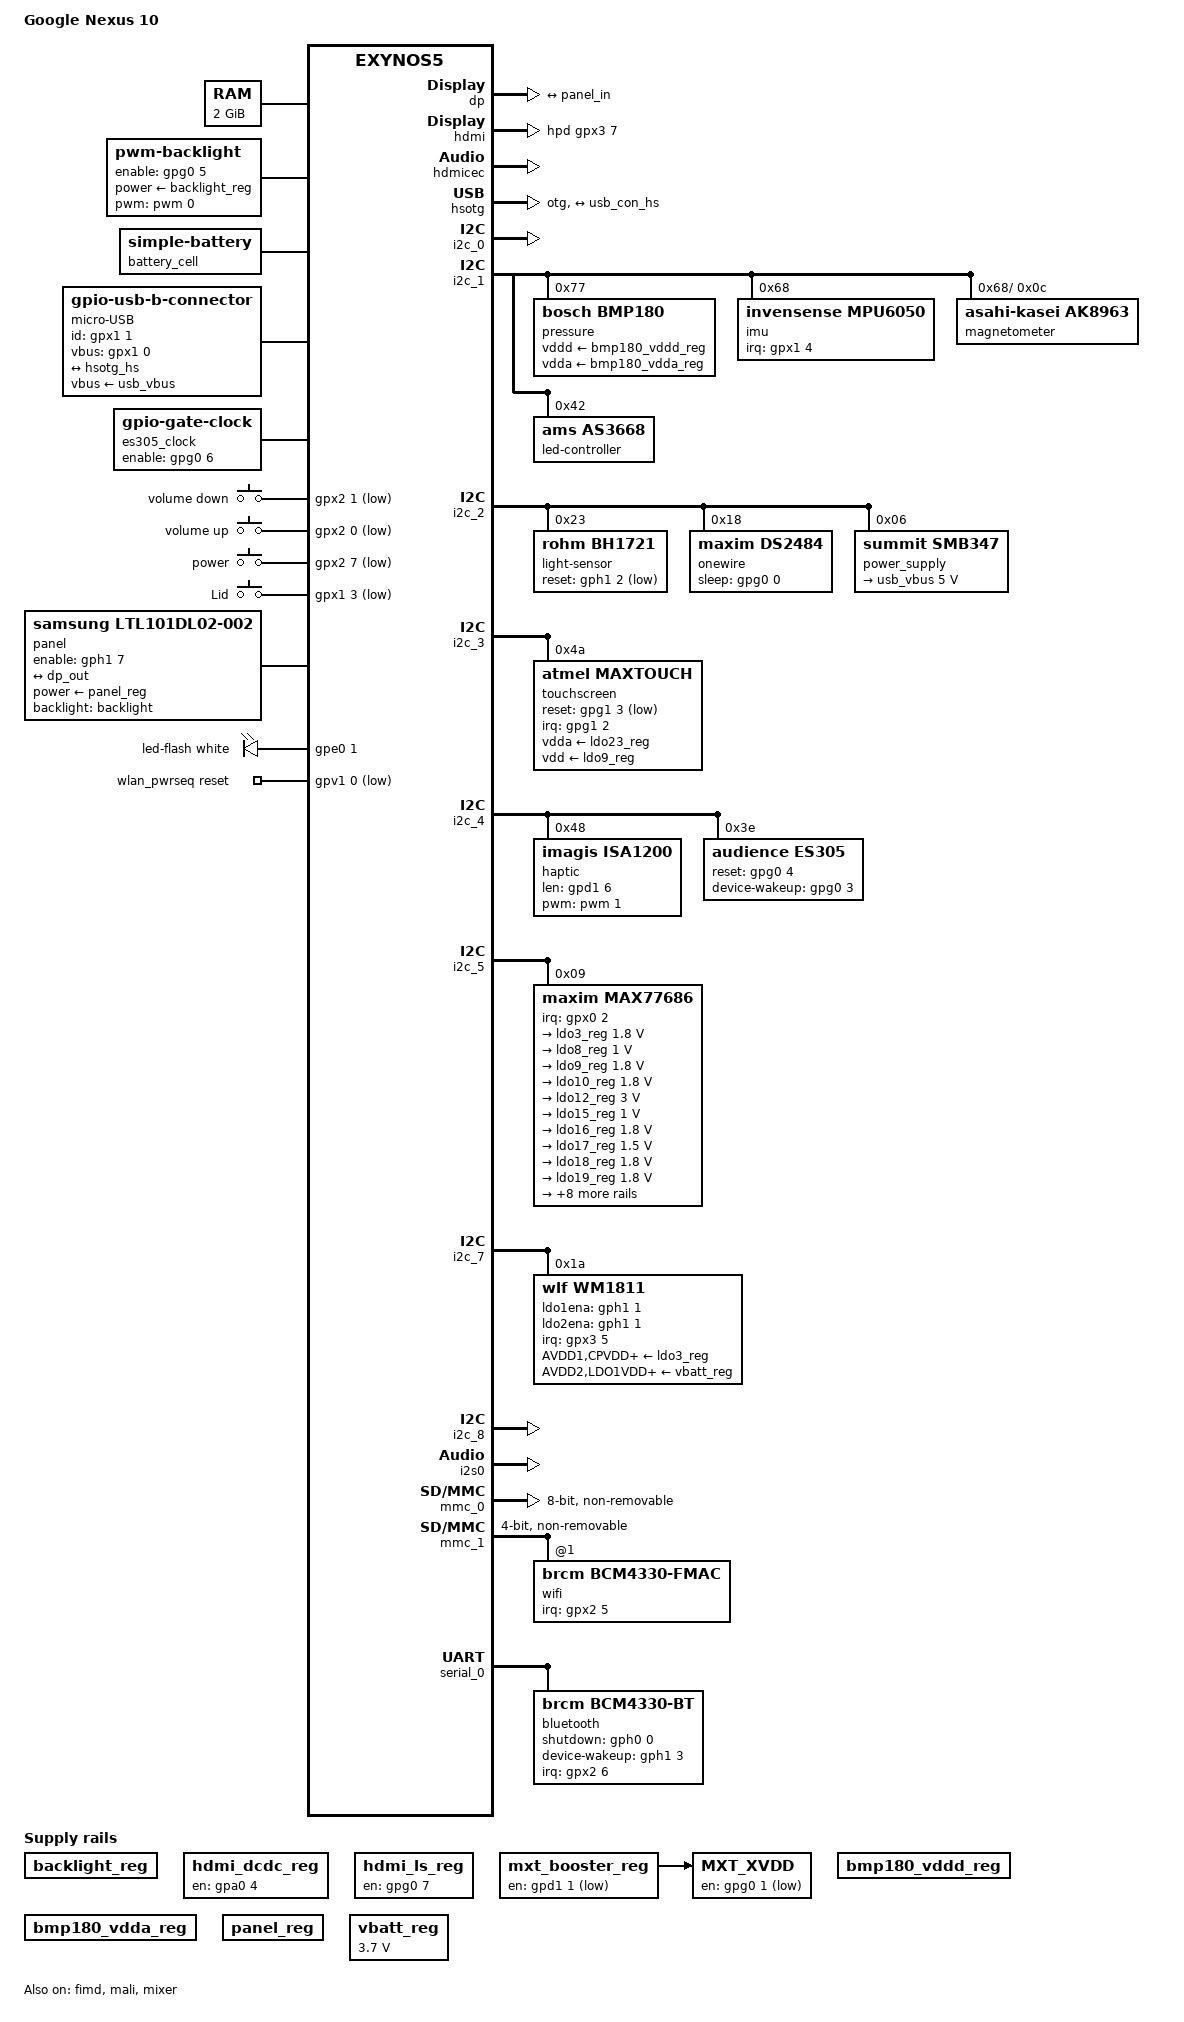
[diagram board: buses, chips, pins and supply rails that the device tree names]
/dts-v1/;
#include <dt-bindings/leds/common.h>
#include <dt-bindings/gpio/gpio.h>
#include <dt-bindings/clock/maxim,max77686.h>
#include <dt-bindings/input/linux-event-codes.h>
#include <dt-bindings/power/summit,smb347-charger.h>
#include <dt-bindings/sound/samsung-i2s.h>
#include "exynos-pinctrl.h"
#include "exynos5250.dtsi"
#include "exynos-mfc-reserved-memory.dtsi"

/ {
	model = "Google Nexus 10";
	compatible = "samsung,nexus10-manta", "samsung,exynos5250", "samsung,exynos5";

	aliases {
		mmc0 = &mmc_0; /* eMMC */
		mmc1 = &mmc_1; /* WiFi */
	};

	memory@40000000 {
		device_type = "memory";
		reg = <0x40000000 0x20000000
		       0x60000000 0x20000000
		       0x80000000 0x20000000
		       0xa0000000 0x1FF00000>;
	};

	chosen {
		stdout-path = &serial_2;
	};

	firmware@204f000 {
		compatible = "samsung,secure-firmware";
		reg = <0x0204f000 0x1000>;
	};

	backlight: backlight {
		compatible = "pwm-backlight";
		pwms = <&pwm 0 1000000 0>;
		brightness-levels = <2 255>;
		num-interpolated-steps = <254>;
		default-brightness-level = <102>;
		power-supply = <&backlight_reg>;
		enable-gpios = <&gpg0 5 GPIO_ACTIVE_HIGH>;
		post-pwm-on-delay-ms = <97>;
		pinctrl-0 = <&led_bl_rst &pwm0_out>;
		pinctrl-names = "default";
	};

	battery_cell: battery-cell {
		compatible = "simple-battery";
		device-chemistry = "lithium-ion";
		constant-charge-current-max-microamp = <2500000>;
		constant-charge-voltage-max-microvolt = <4300000>;
		precharge-current-microamp = <200000>;
		charge-term-current-microamp = <250000>;
	};

	connector {
		compatible = "gpio-usb-b-connector", "usb-b-connector";
		label = "micro-USB";
		type = "micro";
		pinctrl-names = "default";
		pinctrl-0 = <&usb_id &otg_vbus_sense &otg_vbus_sense_fac>;
		id-gpios = <&gpx1 1 GPIO_ACTIVE_HIGH>;
		vbus-gpios = <&gpx1 0 GPIO_ACTIVE_HIGH>;
		vbus-supply = <&usb_vbus>;

		ports {
			#address-cells = <1>;
			#size-cells = <0>;

			port@0 {
				reg = <0>;
				usb_con_hs: endpoint {
					remote-endpoint = <&hsotg_hs>;
				};
			};
		};
	};

	es305_clock: es305-clock {
        	compatible = "gpio-gate-clock";
		clocks = <&pmu_system_controller 0>;
		#clock-cells = <0>;
		enable-gpios = <&gpg0 6 GPIO_ACTIVE_HIGH>;
		pinctrl-0 = <&es305_clk_en>;
		pinctrl-names = "default";
	};

	fixed-rate-clocks {
		xxti {
			compatible = "samsung,clock-xxti";
			clock-frequency = <24000000>;
		};
	};

	gpio-keys {
		compatible = "gpio-keys";
		pinctrl-names = "default";
		pinctrl-0 = <&gpio_keys>;

		key-down {
			gpios = <&gpx2 1 GPIO_ACTIVE_LOW>;
			linux,code = <KEY_VOLUMEDOWN>;
			label = "volume down";
			debounce-interval = <5>;
		};

		key-up {
			gpios = <&gpx2 0 GPIO_ACTIVE_LOW>;
			linux,code = <KEY_VOLUMEUP>;
			label = "volume up";
			debounce-interval = <5>;
		};

		key-power {
			gpios = <&gpx2 7 GPIO_ACTIVE_LOW>;
			linux,code = <KEY_POWER>;
			label = "power";
			debounce-interval = <5>;
			wakeup-source;
		};

		lid-switch {
			label = "Lid";
			gpios = <&gpx1 3 GPIO_ACTIVE_LOW>;
			linux,input-type = <5>; /* EV_SW */
			linux,code = <0>; /* SW_LID */
			debounce-interval = <10>;
			wakeup-source;
		};
	};

	multi-led {
		compatible = "leds-group-multicolor";
		color = <LED_COLOR_ID_RGB>;
		function = LED_FUNCTION_STATUS;
		leds = <&status_red>, <&status_green>, <&status_blue>, <&status_white>;
	};

	panel {
		compatible = "samsung,ltl101dl02-002";

		backlight = <&backlight>;
		power-supply = <&panel_reg>;
		enable-gpios = <&gph1 7 GPIO_ACTIVE_HIGH>;
		pinctrl-0 = <&lcd_en>;
		pinctrl-names = "default";
		no-hpd;

		port {
			panel_in: endpoint {
				remote-endpoint = <&dp_out>;
			};
		};
	};

	flash-controller {
		compatible = "gpio-leds";

		led-flash {
			function = LED_FUNCTION_FLASH;
			color = <LED_COLOR_ID_WHITE>;
			linux,default-trigger = "flash";
			gpios = <&gpe0 1 GPIO_ACTIVE_HIGH>;
			default-state = "off";
		};
	};

	sound {
		compatible = "samsung,nexus10-manta-audio";

		model = "Manta WM1811";
		samsung,aux-devs = <&es305>;
		audio-routing = 
			"HP", "HPOUT1L",
			"HP", "HPOUT1R",
			"SPK", "SPKOUTLN",
			"SPK", "SPKOUTLP",
			"SPK", "SPKOUTRN",
			"SPK", "SPKOUTRP",
			"3rd Mic", "MICBIAS1",
			"IN1LP", "3rd Mic",
			"IN1LN", "3rd Mic",
			"Headset Mic", "MICBIAS2",
			"IN1RP", "Headset Mic",
			"IN1RN", "Headset Mic",
			"2nd Mic", "MICBIAS2",
			"IN2LP:VXRN", "2nd Mic",
			"Main Mic", "MICBIAS2",
			"IN2RP:VXRP", "Main Mic",
			"AIF1DAC1L", "Port D OUT",
			"AIF1DAC1R", "Port D OUT",
			"Port A IN", "Playback Mixer",
			"Port A IN", "Playback Mixer";
		samsung,audio-widgets =
			"Headphone", "HP",
			"Speaker", "SPK",
			"Microphone", "Headset Mic",
			"Microphone", "Main Mic",
			"Microphone", "2nd Mic",
			"Microphone", "3rd Mic";
		samsung,pin-switches = "HP", "SPK";

		cpu {
			sound-dai = <&i2s0 0>;
		};
		codec {
			sound-dai = <&wm1811>;
		};
	};

	wlan_pwrseq: mmc1-pwrseq {
		compatible = "mmc-pwrseq-simple";
		reset-gpios = <&gpv1 0 GPIO_ACTIVE_LOW>;
		pinctrl-0 = <&wlan_pmena>;
		pinctrl-names = "default";
		clocks = <&max77686 MAX77686_CLK_PMIC>;
		clock-names = "ext_clock";
		post-power-on-delay-ms = <300>;
		power-off-delay-us = <50>;
	};

	backlight_reg: regulator-backlight {
		compatible = "regulator-fixed";
		regulator-name = "APS_EN_18V";
		pinctrl-0 = <&aps_en_18v>;
		pinctrl-names = "default";
	};

	hdmi_dcdc_reg: regulator-hdmi-dcdc {
		compatible = "regulator-fixed";
		regulator-name = "HDMI_DCDC";
		pinctrl-0 = <&hdmi_dcdc_en>;
		pinctrl-names = "default";
		gpio = <&gpa0 4 GPIO_ACTIVE_HIGH>;
		enable-active-high;
	};

	hdmi_ls_reg: regulator-hdmi-ls {
		compatible = "regulator-fixed";
		regulator-name = "HDMI_LS";
		pinctrl-0 = <&hdmi_ls_en>;
		pinctrl-names = "default";
		gpio = <&gpg0 7 GPIO_ACTIVE_HIGH>;
		enable-active-high;
		regulator-always-on;
	};

	mxt_booster_reg: regulator-mxt-booster {
		compatible = "regulator-fixed";
		regulator-name = "MXT_BOOSTER";
		pinctrl-0 = <&mxt_booster>;
		pinctrl-names = "default";
		gpio = <&gpd1 1 GPIO_ACTIVE_HIGH>;
	};

	bmp180_vddd_reg: regulator-bmp180-vddd {
		compatible = "regulator-fixed";
		regulator-name = "BMP180_VDDD";
	};

	bmp180_vdda_reg: regulator-bmp180-vdda {
		compatible = "regulator-fixed";
		regulator-name = "BMP180_VDDA";
	};

	regulator-mxt-xvdd {
		compatible = "regulator-fixed";
		regulator-name = "MXT_XVDD";
		pinctrl-0 = <&mxt_xvdd>;
		pinctrl-names = "default";
		gpio = <&gpg0 1 GPIO_ACTIVE_HIGH>;
		startup-delay-us = <3000>;
		vin-supply = <&mxt_booster_reg>;
	};

	/*
	 * The panel node requires a power-supply property, but no information
	 * were found on the actual hardware used to supply power to the panel.
	 */
	panel_reg: regulator-panel {
		compatible = "regulator-fixed";
		regulator-name = "LCD_EN";
	};

	vbatt_reg: regulator-vbatt {
		   compatible = "regulator-fixed";
		   regulator-name = "VBATT";
		   regulator-min-microvolt = <3700000>;
		   regulator-max-microvolt = <3700000>;
		   regulator-always-on;
	};
};

&clock {
	assigned-clocks = <&clock CLK_FOUT_APLL>;
	assigned-clock-rates = <1000000000>;
};

&clock_audss {
	assigned-clocks = <&clock_audss EXYNOS_MOUT_AUDSS>;
	assigned-clock-parents = <&clock CLK_FOUT_EPLL>;
};

&cpu0 {
	cpu0-supply = <&buck2_reg>;
};

&dp {
	status = "okay";
	samsung,color-space = <0>;
	samsung,color-depth = <1>;
	samsung,link-rate = <0x0a>;
	samsung,lane-count = <4>;
	samsung,dynamic-range = <0>;
	samsung,ycbcr-coeff = <0>;

	ports {
		port {
			dp_out: endpoint {
				remote-endpoint = <&panel_in>;
			};
		};
	};
};

&ehci {
	status = "disabled";
};

&fimd {
	status = "okay";
	assigned-clocks = <&clock CLK_MOUT_FIMD1>, <&clock CLK_MOUT_VPLL>;
	assigned-clock-parents = <&clock CLK_MOUT_VPLL>;
};

&hdmi {
	status = "okay";
	pinctrl-0 = <&hdmi_hpd>;
	pinctrl-names = "default";
	hpd-gpios = <&gpx3 7 GPIO_ACTIVE_HIGH>;
	ddc = <&i2c_0>;
	hdmi-en-supply = <&hdmi_dcdc_reg>;
	vdd-supply = <&hdmi_ls_reg>;
	vdd_osc-supply = <&ldo10_reg>;
	vdd_pll-supply = <&ldo8_reg>;
};

&hdmicec {
	status = "okay";
};

&hsotg {
	status = "okay";
	vusb_d-supply = <&ldo15_reg>;
	vusb_a-supply = <&ldo12_reg>;
	dr_mode = "otg";
	usb-role-switch;
	pullup-delay-ms = <125>;

	port {
		hsotg_hs: endpoint {
			remote-endpoint = <&usb_con_hs>;
		};
	};
};

&i2c_0 {
	status = "okay";
	samsung,i2c-sda-delay = <100>;
	samsung,i2c-slave-addr = <0x10>;
};

&i2c_1 {
	status = "okay";

	pressure@77 {
		compatible = "bosch,bmp180";
		reg = <0x77>;
		vddd-supply = <&bmp180_vddd_reg>;
		vdda-supply = <&bmp180_vdda_reg>;
	};

	imu@68 {
		compatible = "invensense,mpu6050";
		reg = <0x68>;
		pinctrl-names = "default";
		pinctrl-0 = <&acc_int>;
		interrupt-parent = <&gpx1>;
		interrupts = <4 IRQ_TYPE_EDGE_RISING>;
		mount-matrix = "0",  "-1",  "0",
				"-1",  "0",  "0",
				"0",  "0", "-1";

		i2c-gate {
			#address-cells = <1>;
			#size-cells = <0>;

			magnetometer@c {
				compatible = "asahi-kasei,ak8963";
				reg = <0x0c>;
				pinctrl-names = "default";
				pinctrl-0 = <&msense_rst>;
				mount-matrix = "-1",  "0",  "0",
						"0",  "1",  "0",
						"0",  "0", "-1";
			};
		};
	};

	led-controller@42 {
		compatible = "ams,as3668";
		reg = <0x42>;
		#address-cells = <1>;
		#size-cells = <0>;

		status_red: led@0 {
			reg = <0x0>;
			function = LED_FUNCTION_STATUS;
			color = <LED_COLOR_ID_RED>;
		};

		status_green: led@1 {
			reg = <0x1>;
			function = LED_FUNCTION_STATUS;
			color = <LED_COLOR_ID_GREEN>;
		};

		status_blue: led@2 {
			reg = <0x2>;
			function = LED_FUNCTION_STATUS;
			color = <LED_COLOR_ID_BLUE>;
		};

		status_white: led@3 {
			reg = <0x3>;
			function = LED_FUNCTION_STATUS;
			color = <LED_COLOR_ID_WHITE>;
		};
	};
};

&i2c_2 {
	status = "okay";

        light-sensor@23 {
                compatible = "rohm,bh1721";
                reg = <0x23>;
                pinctrl-names = "default";
                pinctrl-0 = <&bh1721fvc_reset>;
                reset-gpios = <&gph1 2 GPIO_ACTIVE_LOW>;
        };

	onewire@18 {
		compatible = "maxim,ds2484";
		reg = <0x18>;

		pinctrl-names = "default";
		pinctrl-0 = <&onewire_sleep>;
		sleep-gpios = <&gpg0 0 GPIO_ACTIVE_HIGH>;
	};

	power_supply: charger@6 {
		compatible = "summit,smb347";
		reg = <0x06>;

		pinctrl-names = "default";
		pinctrl-0 = <&ta_en &usb_sel_1>;

		monitored-battery = <&battery_cell>;
		summit,enable-aicl;
		summit,enable-apsd;
		summit,enable-usb-charging;
		summit,enable-mains-charging;
		summit,enable-charge-control = <SMB3XX_CHG_ENABLE_PIN_ACTIVE_LOW>;
		summit,fast-voltage-threshold-microvolt = <2600000>;
		summit,mains-current-limit-microamp = <2000000>;
		summit,usb-current-limit-microamp = <1800000>;
		summit,inok-polarity = <SMB3XX_SYSOK_INOK_ACTIVE_LOW>;

		usb_vbus: usb-vbus {
			regulator-name = "vbus";
			regulator-min-microvolt = <5000000>;
			regulator-max-microvolt = <5000000>;
			regulator-min-microamp = <750000>;
			regulator-max-microamp = <750000>;
		};
	};
};

&i2c_3 {
	status = "okay";

	touchscreen@4a {
		compatible = "atmel,maxtouch";
		reg = <0x4a>;
		pinctrl-names = "default";
		pinctrl-0 = <&mxt_rst &mxt_irq>;
		interrupt-parent = <&gpg1>;
		interrupts = <2 IRQ_TYPE_EDGE_FALLING>;
		reset-gpios = <&gpg1 3 GPIO_ACTIVE_LOW>;
		vdda-supply = <&ldo23_reg>;
		vdd-supply = <&ldo9_reg>;
	};
};

&i2c_4
{
	status = "okay";

	haptic@48 {
		compatible = "imagis,isa1200";
		reg = <0x48>;
		pinctrl-0 = <&vibrator_enable &pwm1_out>;
		pinctrl-names = "default";
		len-gpios = <&gpd1 6 GPIO_ACTIVE_HIGH>;
		pwms = <&pwm 1 38675 0>;
		imagis,ldo-voltage-millivolt = /bits/ 16 <3000>;
	};
};

&i2c_5 {
	status = "okay";
	samsung,i2c-sda-delay = <100>;

	max77686: pmic@9 {
		compatible = "maxim,max77686";
		reg = <0x09>;
		interrupt-parent = <&gpx0>;
		interrupts = <2 IRQ_TYPE_LEVEL_LOW>;
		pinctrl-names = "default";
		pinctrl-0 = <&max77686_irq>;
		#clock-cells = <1>;
		wakeup-source;

		voltage-regulators {
			ldo3_reg: LDO3 {
				regulator-name = "VCC_1.8V_AP";
				regulator-min-microvolt = <1800000>;
				regulator-max-microvolt = <1800000>;
				regulator-always-on;
				regulator-boot-on;
			};
			ldo8_reg: LDO8 {
				regulator-name = "VMIPI_1.0V";
				regulator-min-microvolt = <1000000>;
				regulator-max-microvolt = <1000000>;
				regulator-always-on;
				regulator-boot-on;
			};
			ldo9_reg: LDO9 {
				regulator-name = "TOUCH_VDD_1.8V";
				regulator-min-microvolt = <1800000>;
				regulator-max-microvolt = <1800000>;
			};
			ldo10_reg: LDO10 {
				regulator-name = "VMIPI_1.8V";
				regulator-min-microvolt = <1800000>;
				regulator-max-microvolt = <1800000>;
				regulator-always-on;
				regulator-boot-on;
			};
			ldo12_reg: LDO12 {
				regulator-name = "VUOTG_3.0V";
				regulator-min-microvolt = <3000000>;
				regulator-max-microvolt = <3000000>;
				regulator-always-on;
				regulator-boot-on;
			};
			ldo15_reg: LDO15 {
				regulator-name = "VHSIC_1.0V";
				regulator-min-microvolt = <1000000>;
				regulator-max-microvolt = <1000000>;
				regulator-always-on;
				regulator-boot-on;
			};
			ldo16_reg: LDO16 {
				regulator-name = "VHSIC_1.8V";
				regulator-min-microvolt = <1800000>;
				regulator-max-microvolt = <1800000>;
				regulator-always-on;
				regulator-boot-on;
			};
			ldo17_reg: LDO17 {
				regulator-name = "5M_CORE_1.5V";
				regulator-min-microvolt = <1500000>;
				regulator-max-microvolt = <1500000>;
			};
			ldo18_reg: LDO18 {
				regulator-name = "CAM_IO_1.8V";
				regulator-min-microvolt = <1800000>;
				regulator-max-microvolt = <1800000>;
			};
			ldo19_reg: LDO19 {
				regulator-name = "VT_CAM_1.8V";
				regulator-min-microvolt = <1800000>;
				regulator-max-microvolt = <1800000>;
			};
			ldo20_reg: LDO20 {
				regulator-name = "TA_CHECK_1.35V";
				regulator-min-microvolt = <1350000>;
				regulator-max-microvolt = <1350000>;
			};
			ldo23_reg: LDO23 {
				regulator-name = "TSP_AVDD_2.8V";
				regulator-min-microvolt = <2800000>;
				regulator-max-microvolt = <2800000>;
			};
			ldo24_reg: LDO24 {
				regulator-name = "CAM_AF_2.8V";
				regulator-min-microvolt = <2800000>;
				regulator-max-microvolt = <2800000>;
			};
			ldo25_reg: LDO25 {
				regulator-name = "VADC_3.3V";
				regulator-min-microvolt = <3300000>;
				regulator-max-microvolt = <3300000>;
				regulator-always-on;
				regulator-boot-on;
			};
			buck1_reg: BUCK1 {
				regulator-name = "vdd_mif";
				regulator-min-microvolt = <850000>;
				regulator-max-microvolt = <1200000>;
				regulator-always-on;
				regulator-boot-on;
			};
			buck2_reg: BUCK2 {
				regulator-name = "vdd_arm";
				regulator-min-microvolt = <850000>;
				regulator-max-microvolt = <1200000>;
				regulator-always-on;
				regulator-boot-on;
			};
			buck3_reg: BUCK3 {
				regulator-name = "vdd_int";
				regulator-min-microvolt = <850000>;
				regulator-max-microvolt = <1200000>;
				regulator-always-on;
				regulator-boot-on;
			};
			buck4_reg: BUCK4 {
				regulator-name = "vdd_g3d";
				regulator-min-microvolt = <850000>;
				regulator-max-microvolt = <1200000>;
				regulator-boot-on;
			};
		};
	};
};

&i2c_4 {
	status = "okay";

	es305: audio-codec@3e {
		compatible = "audience,es305";
		reg = <0x3e>;

		#clock-cells = <1>;
		clocks = <&es305_clock>;
		clock-names = "MCLK";

		reset-gpios = <&gpg0 4 GPIO_ACTIVE_HIGH>;
		device-wakeup-gpios = <&gpg0 3 GPIO_ACTIVE_HIGH>;
		pinctrl-0 = <&es305_reset &es305_wake>;
		pinctrl-names = "default";
	};
};

&i2c_7 {
	status = "okay";

	wm1811: audio-codec@1a {
		compatible = "wlf,wm1811";
		reg = <0x1a>;

		assigned-clocks = <&clock CLK_MOUT_EPLL>,
				  <&clock CLK_MOUT_AUDIO0>;
		assigned-clock-parents = <&clock CLK_FOUT_EPLL>,
					 <&clock CLK_MOUT_EPLL>;
		clocks = <&pmu_system_controller 0>, <&max77686 MAX77686_CLK_PMIC>;
		clock-names = "MCLK1", "MCLK2";
		interrupt-controller;
		#interrupt-cells = <2>;
		interrupt-parent = <&gpx3>;
		interrupts = <5 IRQ_TYPE_LEVEL_HIGH>;

		gpio-controller;
		#gpio-cells = <2>;
		#sound-dai-cells = <0>;

		pinctrl-0 = <&wm1811_ldo_en &wm1811_irq>;
		pinctrl-names = "default";

		AVDD1-supply = <&ldo3_reg>;
		AVDD2-supply = <&vbatt_reg>;
		CPVDD-supply = <&ldo3_reg>;
		DBVDD1-supply = <&ldo3_reg>;
		DBVDD2-supply = <&ldo3_reg>;
		DBVDD3-supply = <&ldo3_reg>;
		LDO1VDD-supply = <&vbatt_reg>;
		SPKVDD1-supply = <&vbatt_reg>;
		SPKVDD2-supply = <&vbatt_reg>;
		DCVDD-supply = <&vbatt_reg>;

		wlf,gpio-cfg = <0x3 0x0 0x0 0x0 0x0 0x0 0x0 0x8000 0x10000 0x10000 0x10000>;
		wlf,micbias-cfg = <0x2f 0x2f>;
		wlf,ldoena-always-driven;
		wlf,ldo1ena-gpios = <&gph1 1 GPIO_ACTIVE_HIGH>;
		wlf,ldo2ena-gpios = <&gph1 1 GPIO_ACTIVE_HIGH>;
		wlf,drc-cfg-names = "Default", "Speakers Media";
		wlf,drc-cfg-regs = <0x0098 0x0845 0x0 0x0 0x0>,
			           <0x0098 0x0245 0x0028 0x00c6 0x0>;
		wlf,jd-ext-cap;
	};
};

&i2c_8 {
	status = "okay";
};

&i2s0 {
	assigned-clocks = <&i2s0 CLK_I2S_RCLK_SRC>;
	assigned-clock-parents = <&clock_audss EXYNOS_I2S_BUS>;
	status = "okay";
};

&mali {
	status = "okay";
	mali-supply = <&buck4_reg>;
};

&mixer {
	status = "okay";
};

&mmc_0 {
	status = "okay";
	broken-cd;
	non-removable;
	max-frequency = <200000000>;
	sd-uhs-ddr50;
	mmc-ddr-1_8v;
	cap-mmc-hw-reset;
	mmc-hs200-1_8v;
	bus-width = <8>;
	card-detect-delay = <200>;
	samsung,dw-mshc-ciu-div = <3>;
	samsung,dw-mshc-sdr-timing = <1 2>;
	samsung,dw-mshc-ddr-timing = <2 3>;
	pinctrl-names = "default";
	pinctrl-0 = <&sd0_clk &sd0_cmd &sd0_bus4 &sd0_bus8>;
};

&mmc_1 {
	status = "okay";
	non-removable;
	max-frequency = <100000000>;
	sd-uhs-sdr50;
	cap-sd-highspeed;
	keep-power-in-suspend;
	bus-width = <4>;
	card-detect-delay = <0>;
	samsung,dw-mshc-ciu-div = <3>;
	samsung,dw-mshc-sdr-timing = <2 4>;
	samsung,dw-mshc-ddr-timing = <2 3>;
	pinctrl-names = "default";
	pinctrl-0 = <&sd1_clk &sd1_cmd &sd1_bus4>;
	mmc-pwrseq = <&wlan_pwrseq>;

	wifi@1 {
		compatible = "brcm,bcm4330-fmac", "brcm,bcm4329-fmac";
		reg = <1>;
		interrupt-parent = <&gpx2>;
		interrupts = <5 IRQ_TYPE_NONE>;
		interrupt-names = "host-wake";
		pinctrl-names = "default";
		pinctrl-0 = <&wlan_irq>;
	};
};

&ohci {
	status = "disabled";
};

&pinctrl_0 {
	acc_int: acc-int-pins {
		samsung,pins = "gpx1-4";
		samsung,pin-function = <EXYNOS_PIN_FUNC_EINT>;
		samsung,pin-pud = <EXYNOS_PIN_PULL_UP>;
	};
	mxt_booster: mxt-booster-pins {
		samsung,pins = "gpd1-1";
		samsung,pin-con-pdn = <EXYNOS_PIN_PDN_PREV>;
	};

	max77686_irq: max77686-irq-pins {
		samsung,pins = "gpx0-2";
		samsung,pin-function = <EXYNOS_PIN_FUNC_F>;
		samsung,pin-pud = <EXYNOS_PIN_PULL_NONE>;
		samsung,pin-drv = <EXYNOS4_PIN_DRV_LV1>;
	};
	otg_vbus_sense: otg-vbus-sense-pins {
		samsung,pins = "gpx1-0";
		samsung,pin-function = <EXYNOS_PIN_FUNC_INPUT>;
		samsung,pin-pud = <EXYNOS_PIN_PULL_NONE>;
	};
	otg_vbus_sense_fac: otg-vbus-sense-fac-pins {
		samsung,pins = "gpb0-1";
		samsung,pin-function = <EXYNOS_PIN_FUNC_INPUT>;
		samsung,pin-pud = <EXYNOS_PIN_PULL_NONE>;
		samsung,pin-con-pdn = <EXYNOS_PIN_PDN_PREV>;
		samsung,pin-pud-pdn = <EXYNOS_PIN_PULL_NONE>;
	};
	vibrator_enable: vibrator-enable-pins {
		samsung,pins = "gpd1-6";
		samsung,pin-function = <EXYNOS_PIN_FUNC_OUTPUT>;
		samsung,pin-pud = <EXYNOS_PIN_PULL_DOWN>;
		samsung,pin-drv = <EXYNOS4_PIN_DRV_LV1>;
	};
	gpio_keys: gpio-keys-pins-pins {
		samsung,pins = "gpx2-0", "gpx2-1", "gpx2-7", "gpx1-3";
		samsung,pin-pud = <EXYNOS_PIN_PULL_NONE>;
	};
	usb_id: usb-id-pins {
		samsung,pins = "gpx1-1";
		samsung,pin-con-pdn = <EXYNOS_PIN_PDN_INPUT>;
		samsung,pin-pud-pdn = <EXYNOS_PIN_PULL_NONE>;
	};
	wlan_irq: wlan-irq-pins {
		samsung,pins = "gpx2-5";
		samsung,pin-function = <EXYNOS_PIN_FUNC_INPUT>;
		samsung,pin-pud = <EXYNOS_PIN_PULL_NONE>;
		samsung,pin-drv = <EXYNOS4_PIN_DRV_LV3>;
	};
	bt_host_wakeup: bt-host-wakeup-pins {
		samsung,pins = "gpx2-6";
		samsung,pin-function = <EXYNOS_PIN_FUNC_INPUT>;
		samsung,pin-pud = <EXYNOS_PIN_PULL_NONE>;
		samsung,pin-drv = <EXYNOS4_PIN_DRV_LV1>;
	};
	wm1811_irq: wm1811-irq-pins {
		samsung,pins = "gpx3-5";
		samsung,pin-function = <EXYNOS_PIN_FUNC_EINT>;
	};
	hdmi_dcdc_en: hdmi-dcdc-en-pins {
		samsung,pins = "gpa0-4";
		samsung,pin-function = <EXYNOS_PIN_FUNC_OUTPUT>;
		samsung,pin-val = <1>;
	};
};

&pinctrl_1 {
	bh1721fvc_reset: bh1721fvc-reset-pins {
		samsung,pins = "gph1-2";
		samsung,pin-function = <EXYNOS_PIN_FUNC_OUTPUT>;
		samsung,pin-pud = <EXYNOS_PIN_PULL_NONE>;
	};
	es305_wake: es305-wake-pins {
		samsung,pins = "gpg0-3";
		samsung,pin-function = <EXYNOS_PIN_FUNC_OUTPUT>;
		samsung,pin-con-pdn = <EXYNOS_PIN_PDN_PREV>;
	};
	es305_reset: es305-reset-pins {
		samsung,pins = "gpg0-4";
		samsung,pin-function = <EXYNOS_PIN_FUNC_OUTPUT>;
		samsung,pin-con-pdn = <EXYNOS_PIN_PDN_PREV>;
	};
	led_bl_rst: led-bl-rst-pins {
		samsung,pins = "gpg0-5";
		samsung,pin-function = <EXYNOS_PIN_FUNC_OUTPUT>;
		samsung,pin-con-pdn = <EXYNOS_PIN_PDN_PREV>;
		samsung,pin-pud-pdn = <EXYNOS_PIN_PULL_NONE>;
		samsung,pin-val = <0>;
	};
	es305_clk_en: es305-clk-en-pins {
		samsung,pins = "gpg0-6";
		samsung,pin-function = <EXYNOS_PIN_FUNC_OUTPUT>;
		samsung,pin-con-pdn = <EXYNOS_PIN_PDN_PREV>;
	};
	wm1811_ldo_en: wm1811-ldo-en-pins {
		samsung,pins = "gph1-1";
		samsung,pin-function = <EXYNOS_PIN_FUNC_OUTPUT>;
		samsung,pin-con-pdn = <EXYNOS_PIN_PDN_PREV>;
		samsung,pin-val = <1>;
	};
	aps_en_18v: aps-en-18v-pins {
		samsung,pins = "gph1-6";
		samsung,pin-function = <EXYNOS_PIN_FUNC_OUTPUT>;
		samsung,pin-con-pdn = <EXYNOS_PIN_PDN_INPUT>;
		samsung,pin-pud-pdn = <EXYNOS_PIN_PULL_UP>;
		samsung,pin-val = <0>;
	};
	lcd_en: lcd-en-pins {
		samsung,pins = "gph1-7";
		samsung,pin-function = <EXYNOS_PIN_FUNC_OUTPUT>;
		samsung,pin-val = <0>;
	};
	msense_rst: msense-rst-pins {
		samsung,pins = "gpg2-0";
		samsung,pin-function = <EXYNOS_PIN_FUNC_OUTPUT>;
		samsung,pin-val = <1>;
	};
	mxt_irq: mxt-irq-pins {
		samsung,pins = "gpg1-2";
		samsung,pin-function = <EXYNOS_PIN_FUNC_EINT>;
		samsung,pin-pud = <EXYNOS_PIN_PULL_NONE>;
		samsung,pin-con-pdn = <EXYNOS_PIN_PDN_PREV>;
		samsung,pin-pud-pdn = <EXYNOS_PIN_PULL_NONE>;
	};
	mxt_rst: mxt-rst-pins {
		samsung,pins = "gpg1-3";
		samsung,pin-con-pdn = <EXYNOS_PIN_PDN_PREV>;
	};
	mxt_xvdd: mxt-xvdd-pins {
		samsung,pins = "gpg0-1";
		samsung,pin-con-pdn = <EXYNOS_PIN_PDN_PREV>;
	};
	ta_en: ta-en-pins {
		samsung,pins = "gpg1-5";
		samsung,pin-function = <EXYNOS_PIN_FUNC_OUTPUT>;
		samsung,pin-pud = <EXYNOS_PIN_PULL_NONE>;
		samsung,pin-con-pdn = <EXYNOS_PIN_PDN_PREV>;
		samsung,pin-pud-pdn = <EXYNOS_PIN_PULL_NONE>;
	};
	usb_sel_1: usb-sel-1-pins {
		samsung,pins = "gph0-1";
		samsung,pin-function = <EXYNOS_PIN_FUNC_OUTPUT>;
		samsung,pin-pud = <EXYNOS_PIN_PULL_NONE>;
		samsung,pin-pud-pdn = <EXYNOS_PIN_PULL_NONE>;
		samsung,pin-val = <1>;
	};
	bt_reg_on: bt-reg-on-pins {
		samsung,pins = "gph0-0";
		samsung,pin-function = <EXYNOS_PIN_FUNC_OUTPUT>;
		samsung,pin-con-pdn = <EXYNOS_PIN_PDN_PREV>;
		samsung,pin-pud-pdn = <EXYNOS_PIN_PULL_NONE>;
	};
	bt_wake: bt-wake-pins {
		samsung,pins = "gph1-3";
		samsung,pin-function = <EXYNOS_PIN_FUNC_OUTPUT>;
		samsung,pin-con-pdn = <EXYNOS_PIN_PDN_PREV>;
		samsung,pin-pud-pdn = <EXYNOS_PIN_PULL_NONE>;
	};
	hdmi_ls_en: hdmi-ls-en-pins {
		samsung,pins = "gpg0-7";
		samsung,pin-function = <EXYNOS_PIN_FUNC_OUTPUT>;
		samsung,pin-val = <1>;
	};
	onewire_sleep: onewire-sleep-pins {
		samsung,pins = "gpg0-0";
		samsung,pin-function = <EXYNOS_PIN_FUNC_OUTPUT>;
		samsung,pin-pud = <EXYNOS_PIN_PULL_NONE>;
		samsung,pin-con-pdn = <EXYNOS_PIN_PDN_INPUT>;
		samsung,pin-pud-pdn = <EXYNOS_PIN_PULL_NONE>;
	};
};

&pinctrl_2 {
	wlan_pmena: wlan-pmena-pins {
		samsung,pins = "gpv1-0";
		samsung,pin-function = <EXYNOS_PIN_FUNC_OUTPUT>;
		samsung,pin-pud = <EXYNOS_PIN_PULL_NONE>;
		samsung,pin-drv = <EXYNOS4_PIN_DRV_LV3>;
		samsung,pin-con-pdn = <EXYNOS_PIN_PDN_PREV>;
		samsung,pin-val = <0>;
	};
};

&pmu_system_controller {
	assigned-clocks = <&pmu_system_controller 0>;
	assigned-clock-parents = <&clock CLK_FIN_PLL>;
};

&sd1_bus4 {
	samsung,pin-con-pdn = <EXYNOS_PIN_PDN_INPUT>;
	samsung,pin-pud-pdn = <EXYNOS_PIN_PULL_NONE>;
};

&sd1_cmd {
	samsung,pin-con-pdn = <EXYNOS_PIN_PDN_INPUT>;
	samsung,pin-pud-pdn = <EXYNOS_PIN_PULL_NONE>;
};

&serial_0 {
	pinctrl-0 = <&uart0_data &uart0_fctl>;
	pinctrl-names = "default";

	bluetooth {
		compatible = "brcm,bcm4330-bt";
		pinctrl-0 = <&bt_reg_on &bt_wake &bt_host_wakeup>;
		pinctrl-names = "default";

		shutdown-gpios = <&gph0 0 GPIO_ACTIVE_HIGH>;
		device-wakeup-gpios = <&gph1 3 GPIO_ACTIVE_HIGH>;

		interrupt-parent = <&gpx2>;
		interrupts = <6 IRQ_TYPE_EDGE_FALLING>;
		interrupt-names = "host-wakeup";

		clocks = <&max77686 MAX77686_CLK_PMIC>;
		clock-names = "lpo";
	};
};

&serial_1 {
	pinctrl-names = "default", "flow-control";
	pinctrl-0 = <&uart1_data>;
	pinctrl-1 = <&uart1_data>, <&uart1_fctl>;
};

&serial_2 {
	pinctrl-names = "default", "flow-control";
	pinctrl-0 = <&uart2_data>;
	pinctrl-1 = <&uart2_data>, <&uart2_fctl>;
};

&usbdrd {
	status = "disabled";
};

&usbdrd_dwc3 {
	status = "disabled";
};

&usbdrd_phy {
	status = "disabled";
};
